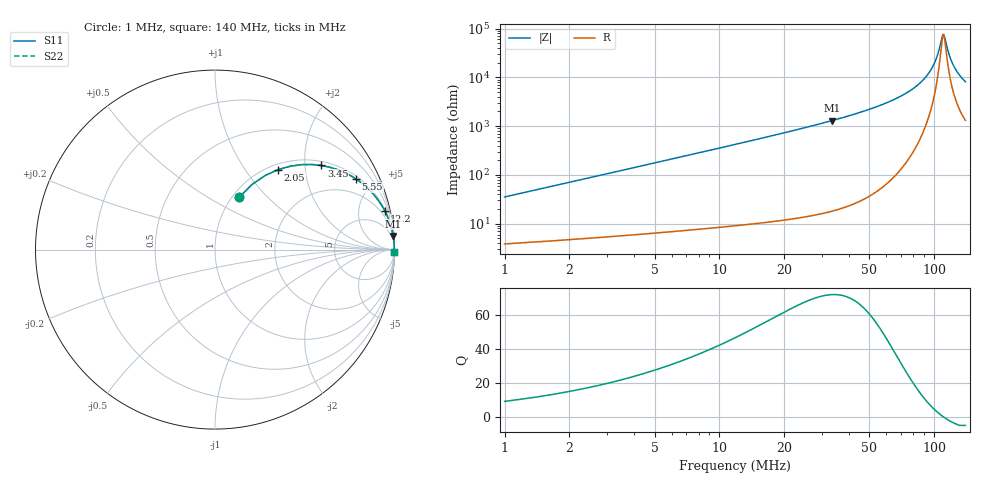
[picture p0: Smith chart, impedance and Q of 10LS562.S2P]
! Coilcraft 1008LS-562 Chip Inductor
! 5 August 2002
# MHZ S MA R 50
!Freq  MagS11  AngS11  MagS21  AngS21  MagS12  AngS12  MagS22  AngS22
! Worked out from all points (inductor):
!   399 points, 1 MHz to 140 MHz, reference 50 ohm
!   read as one part in series: L = 5.6 uH near 1.35 MHz
!   highest Q = 71.8 at 33.55 MHz (marker M1), where L = 6.17 uH
!   self-resonance near 110.5 MHz
!   S11 on the Smith chart (normalised r, x): 1 MHz: 1.08, +0.70; 2.05 MHz: 1.10, +1.44; 3.45 MHz: 1.11, +2.43; 5.55 MHz: 1.13, +3.92; 12.2 MHz: 1.18, +8.69; 140 MHz: open
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1  0.3228 65.0  0.9119 -18.7  0.9119 -18.7  0.3228 65.0
1.35  0.4165 60.4  0.8733 -24.5  0.8733 -24.5  0.4165 60.4
2.05  0.5685 51.7  0.7862 -34.6  0.7862 -34.6  0.5685 51.7
3.45  0.7555 38.3  0.6211 -49.0  0.6211 -49.0  0.7555 38.3
5.55  0.8786 26.6  0.4485 -61.4  0.4485 -61.4  0.8786 26.6
8.35  0.9397 18.5  0.3179 -70.0  0.3179 -70.0  0.9397 18.5
12.2  0.9701 12.9  0.2232 -75.9  0.2232 -75.9  0.9701 12.9
17.8  0.9855 8.8  0.1533 -80.2  0.1533 -80.2  0.9855 8.8
24.45  0.9923 6.3  0.1097 -82.8  0.1097 -82.8  0.9923 6.3
33.55  0.996 4.4  0.0766 -84.8  0.0766 -84.8  0.996 4.4
47.55  0.9981 2.8  0.04863 -86.3  0.04863 -86.3  0.9981 2.8
70.65  0.9989 1.4  0.0238 -86.8  0.0238 -86.8  0.9989 1.4
83.95  0.999 0.8  0.01437 -85.6  0.01437 -85.6  0.999 0.8
93.75  0.9989 0.5  0.008605 -82.6  0.008605 -82.6  0.9989 0.5
98.3  0.9989 0.3  0.006189 -79.4  0.006189 -79.4  0.9989 0.3
102.15  0.9988 0.2  0.004274 -73.9  0.004274 -73.9  0.9988 0.2
110.2  0.9987 0.0  0.001333 -9.6  0.001333 -9.6  0.9987 0.0
111.95  0.9987 -0.0  0.001469 23.3  0.001469 23.3  0.9987 -0.0
116.85  0.9985 -0.2  0.00313 62.3  0.00313 62.3  0.9985 -0.2
121.05  0.9985 -0.3  0.004836 71.2  0.004836 71.2  0.9985 -0.3
125.95  0.9983 -0.4  0.006826 75.7  0.006826 75.7  0.9983 -0.4
140  0.9979 -0.7  0.01227 80.0  0.01227 80.0  0.9979 -0.7
